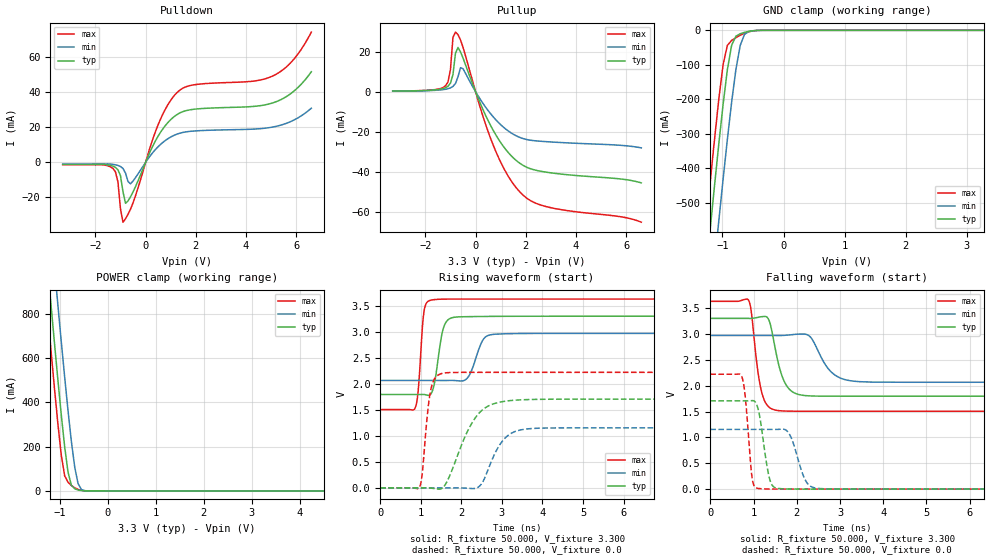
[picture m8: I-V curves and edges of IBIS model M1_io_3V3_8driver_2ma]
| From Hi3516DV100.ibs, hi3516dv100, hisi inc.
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|   Model M1_io_3V3_8driver_2ma
[Model] M1_io_3V3_8driver_2ma
Model_type I/O
Enable   Active-Low
|   typ   min   max
C_comp   1.995pF   1.971pF   2.051pF
C_comp_pullup   1.121pF   1.037pF   1.157pF
C_comp_pulldown   0.784pF   0.759pF   0.785pF
[Temperature Range]   25.000   0.125k   -40.000
[Voltage Range]   3.300V   2.970V   3.630V
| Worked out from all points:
|   slope of the pulldown table from 0 to 0.495 V, typ, clamps not added: 33.2 ohm
|   slope of the pullup table from 0 to 0.495 V, typ, clamps not added: 34.5 ohm
|   GND clamp passes 1 mA (typ) near -0.48 V on its own axis
|   POWER clamp passes 1 mA (typ) near -0.52 V on its own axis
|   rising waveform, R_fixture 50.000, V_fixture 3.300: 20-80 % time 176ps typ, 249ps min, 109ps max; typ from 1.8 V to 3.3 V
|   rising waveform, R_fixture 50.000, V_fixture 0.0: 20-80 % time 592ps typ, 440ps min, 164ps max; typ from 0.001 V to 1.71 V
|   falling waveform, R_fixture 50.000, V_fixture 3.300: 20-80 % time 265ps typ, 395ps min, 194ps max; typ from 3.3 V to 1.8 V
|   falling waveform, R_fixture 50.000, V_fixture 0.0: 20-80 % time 183ps typ, 262ps min, 129ps max; typ from 1.71 V to 0.001 V
[Pulldown]
|Voltage   I(typ)   I(min)   I(max)
-3.3V     -1.194mA   -921.7uA   -1.327mA
-1.3V     -2.114mA   -1.111mA   -3.416mA
-1.1V     -4.211mA   -1.713mA   -11.11mA
-1V       -7.577mA   -2.318mA   -26.47mA
-900mV    -16.67mA   -3.474mA   -34.16mA
-800mV    -23.36mA   -6.08mA    -32.2mA
-600mV    -19.64mA   -12.22mA   -26.69mA
500mV     15.04mA    8.997mA    21.54mA
1.2V      26.86mA    15.89mA    39.16mA
5.1V      34.2mA     20.32mA    49.66mA
5.9V      40.67mA    24.18mA    58.93mA
6.6V      51.81mA    30.99mA    74.5mA
[Pullup]
|Voltage   I(typ)   I(min)   I(max)
-3.3V     376uA      346.4uA    381uA
-1.2V     1.955mA    1.202mA    2.892mA
-1V       4.268mA    1.9mA      11.18mA
-900mV    8.59mA     2.632mA    27.17mA
-800mV    19.21mA    4.092mA    29.75mA
-700mV    22.06mA    7.461mA    28.48mA
-500mV    16.78mA    11.45mA    22.15mA
700mV     -19.25mA   -12.54mA   -26.6mA
1.2V      -28.83mA   -18.66mA   -40.02mA
1.8V      -36.06mA   -23.02mA   -50.53mA
2.9V      -40.34mA   -25.02mA   -57.63mA
6.6V      -45.53mA   -28.06mA   -65.15mA
[GND_clamp]
|Voltage   I(typ)   I(min)   I(max)
-3.3V     -4.517A    -4.69A     -4.416A
-1.27V    -700.5mA   -927.1mA   -564.6mA
-1.2V     -573.8mA   -800.2mA   -438.1mA
-1.06V    -328.9mA   -551.9mA   -199.2mA
-990mV    -214.8mA   -431.8mA   -99.7mA
-920mV    -114mA     -316.2mA   -43.53mA
-850mV    -43.24mA   -208mA     -29.29mA
-780mV    -17.1mA    -113.2mA   -21.3mA
-710mV    -9.984mA   -44.04mA   -14.34mA
-640mV    -5.898mA   -11.93mA   -8.548mA
-430mV    -290.1uA   -417uA     -293.3uA
3.28V     0A         0A         0A
[POWER_clamp]
|Voltage   I(typ)   I(min)   I(max)
-3.28V    6.17A      6.491A     5.979A
-1.32V    1.171A     1.514A     963.5mA
-1.25V    998.8mA    1.342A     791.6mA
-1.18V    828.8mA    1.171A     622.5mA
-1.04V    498.6mA    836.2mA    300.3mA
-970mV    342.4mA    672.8mA    160.5mA
-900mV    199.2mA    514.1mA    67.64mA
-830mV    84.45mA    362.5mA    39.03mA
-690mV    9.426mA    106.7mA    13.99mA
-620mV    4.06mA     32.35mA    6.988mA
-480mV    331.6uA    966.8uA    576.2uA
6.6V      -86.79uA   -108.3nA   -146.3uA
[Ramp]
| variable   typ   min   max
dV/dt_r   1.023/0.592n   0.693/0.442n   1.332/0.165n
dV/dt_f   0.902/0.265n   0.543/0.394n   1.274/0.194n
R_load = 50.000
[Rising Waveform]
R_fixture= 50.000
V_fixture= 3.300
V_fixture_min= 2.970
V_fixture_max= 3.630
|time   V(typ)   V(min)   V(max)
0s        1.796V     2.066V     1.506V
863ps     1.796V     2.066V     1.542V
942ps     1.796V     2.066V     1.928V
1.073ns   1.796V     2.066V     3.36V
1.231ns   1.793V     2.066V     3.605V
1.551ns   3.056V     2.065V     3.629V
1.815ns   3.279V     2.066V     3.63V
2.142ns   3.291V     2.107V     3.63V
2.761ns   3.297V     2.949V     3.63V
10ns      3.3V       2.97V      3.63V
[Rising Waveform]
R_fixture= 50.000
V_fixture= 0.0
V_fixture_min= 0.0
V_fixture_max= 0.0
|time   V(typ)   V(min)   V(max)
0s        1.445mV    0V         1.898mV
970ps     1.412mV    1.766uV    21.35mV
1.031ns   1.416mV    949.1nV    246.7mV
1.237ns   -2.195mV   851nV      1.854V
1.51ns    -13.1mV    35.44uV    2.197V
2.418ns   1.421V     15.67mV    2.221V
2.888ns   1.638V     754.4mV    2.221V
3.232ns   1.68V      1.051V     2.221V
3.768ns   1.701V     1.143V     2.221V
10ns      1.707V     1.154V     2.221V
[Falling Waveform]
R_fixture= 50.000
V_fixture= 3.300
V_fixture_min= 2.970
V_fixture_max= 3.630
|time   V(typ)   V(min)   V(max)
0s        3.3V       2.97V      3.63V
888ps     3.3V       2.97V      3.648V
1.175ns   3.331V     2.97V      1.922V
1.349ns   3.279V     2.97V      1.592V
1.485ns   2.792V     2.97V      1.532V
1.752ns   2.017V     2.975V     1.509V
2.167ns   1.811V     2.998V     1.506V
2.773ns   1.797V     2.285V     1.506V
3.243ns   1.796V     2.095V     1.506V
10ns      1.796V     2.066V     1.506V
[Falling Waveform]
R_fixture= 50.000
V_fixture= 0.0
V_fixture_min= 0.0
V_fixture_max= 0.0
|time   V(typ)   V(min)   V(max)
0s        1.707V     1.154V     2.221V
727ps     1.707V     1.154V     2.179V
807ps     1.707V     1.154V     1.798V
969ps     1.711V     1.154V     210.2mV
1.078ns   1.624V     1.154V     19.92mV
1.36ns    239.1mV    1.154V     3.277mV
1.52ns    22.24mV    1.154V     2.216mV
1.82ns    3.909mV    1.076V     1.919mV
2.445ns   1.485mV    20.17mV    1.9mV
10ns      1.444mV    0V         1.898mV
